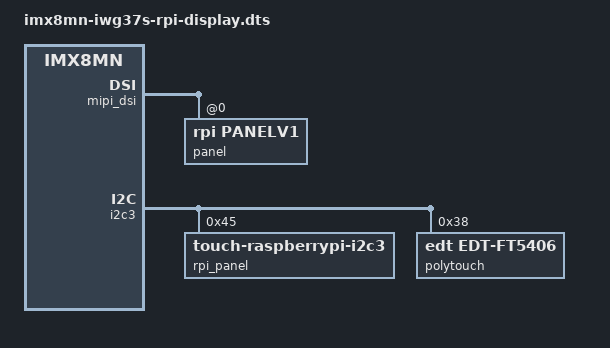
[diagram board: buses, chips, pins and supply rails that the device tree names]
/*
 * Copyright (c) 2021-22 iWave Systems Technologies Pvt. Ltd.
 *
 * This program is free software; you can redistribute it and/or
 * modify it under the terms of the GNU General Public License
 * as published by the Free Software Foundation; either version 2
 * of the License, or (at your option) any later version.
 *
 * This program is distributed in the hope that it will be useful,
 * but WITHOUT ANY WARRANTY; without even the implied warranty of
 * MERCHANTABILITY or FITNESS FOR A PARTICULAR PURPOSE.  See the
 * GNU General Public License for more details.
 */

#include "imx8mn-iwg37s.dts"

&lt_bridge {
	status = "disabled";
};

&lvds_backlight0 {
	status = "disabled";
};

&mipi_dsi {
	panel@0 {
		compatible = "rpi,panelv1";
                reg = <0>;
                dsi-lanes = <1>;
                video-mode = <1>;
                panel-width-mm = <154>;
                panel-height-mm = <86>;
                status = "okay";
        };
};

&i2c3 {
	rpi_panel:rpi_panel@45{ /* MIPI DSI: Raspberry Pi display */
		reg=<0x45>;
		compatible="touch-raspberrypi-i2c3";
		status="okay";
	};

	polytouch: edt-ft5x06@38 { /* Touch: EDT Touch Panel */
		compatible = "edt,edt-ft5406", "edt,edt-ft5x06";
		reg = <0x38>;
		touchscreen-size-y = <480>;
		touchscreen-size-x = <800>;
		poll-interval = <17>;
	};
};
